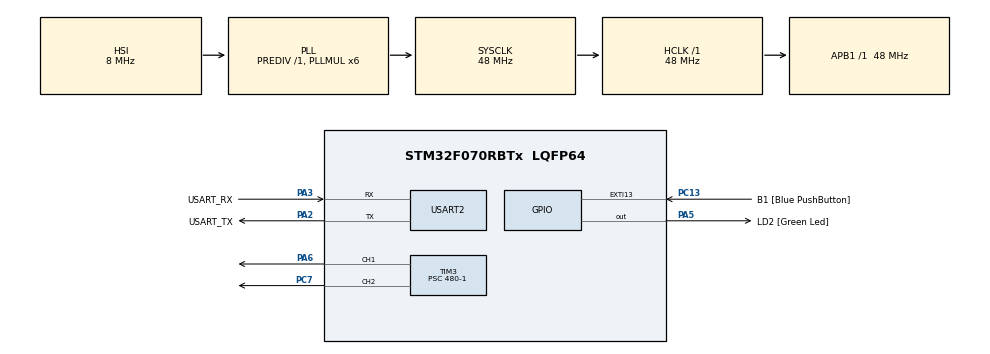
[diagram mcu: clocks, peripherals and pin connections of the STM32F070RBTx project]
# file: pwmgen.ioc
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Mcu.Family=STM32F0
Mcu.Name=STM32F070RBTx
Mcu.Package=LQFP64
NVIC.USART2_IRQn=true\:0\:0\:false\:false\:true\:true
PA13.GPIO_Label=TMS
PA13.Mode=Serial_Wire
PA13.Signal=SYS_SWDIO
PA14.GPIO_Label=TCK
PA14.Mode=Serial_Wire
PA14.Signal=SYS_SWCLK
PA2.GPIO_Label=USART_TX
PA2.Mode=Asynchronous
PA2.Signal=USART2_TX
PA3.GPIO_Label=USART_RX
PA3.Mode=Asynchronous
PA3.Signal=USART2_RX
PA5.GPIO_Label=LD2 [Green Led]
PA5.Signal=GPIO_Output
PA6.Signal=S_TIM3_CH1
PC13.GPIO_Label=B1 [Blue PushButton]
PC13.GPIO_ModeDefaultEXTI=GPIO_MODE_IT_FALLING
PC13.Signal=GPXTI13
PC14-OSC32_IN.GPIO_Label=RCC_OSC32_IN
PC14-OSC32_IN.Mode=LSE-External-Oscillator
PC14-OSC32_IN.Signal=RCC_OSC32_IN
PC15-OSC32_OUT.GPIO_Label=RCC_OSC32_OUT
PC15-OSC32_OUT.Mode=LSE-External-Oscillator
PC15-OSC32_OUT.Signal=RCC_OSC32_OUT
PC7.Signal=S_TIM3_CH2
PF0-OSC_IN.GPIO_Label=RCC_OSC_IN
PF0-OSC_IN.Mode=HSE-External-Clock-Source
PF0-OSC_IN.Signal=RCC_OSC_IN
PF1-OSC_OUT.GPIO_Label=RCC_OSC_OUT
PF1-OSC_OUT.Signal=RCC_OSC_OUT
ProjectManager.HeapSize=0x200
ProjectManager.StackSize=0x400
ProjectManager.TargetToolchain=TrueSTUDIO
RCC.AHBFreq_Value=48000000
RCC.APB1Freq_Value=48000000
RCC.APB1TimFreq_Value=48000000
RCC.HCLKFreq_Value=48000000
RCC.PLLMUL=RCC_PLL_MUL6
RCC.SYSCLKFreq_VALUE=48000000
RCC.SYSCLKSource=RCC_SYSCLKSOURCE_PLLCLK
SH.S_TIM3_CH1.0=TIM3_CH1,PWM Generation1 CH1
SH.S_TIM3_CH2.0=TIM3_CH2,PWM Generation2 CH2
TIM3.AutoReloadPreload=TIM_AUTORELOAD_PRELOAD_ENABLE
TIM3.Channel-PWM\ Generation1\ CH1=TIM_CHANNEL_1
TIM3.Channel-PWM\ Generation2\ CH2=TIM_CHANNEL_2
TIM3.Period=1000-1
TIM3.Prescaler=480-1
TIM3.Pulse-PWM\ Generation1\ CH1=200-1
TIM3.Pulse-PWM\ Generation2\ CH2=200-1
USART2.VirtualMode-Asynchronous=VM_ASYNC
board=NUCLEO-F070RB

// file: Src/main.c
/**
  ******************************************************************************
  * @file           : main.c
  * @brief          : Main program body
  ******************************************************************************
  ** This notice applies to any and all portions of this file
  * that are not between comment pairs USER CODE BEGIN and
  * USER CODE END. Other portions of this file, whether
  * inserted by the user or by software development tools
  * are owned by their respective copyright owners.
  *
  * COPYRIGHT(c) 2018 STMicroelectronics
  *
  * Redistribution and use in source and binary forms, with or without modification,
  * are permitted provided that the following conditions are met:
  *   1. Redistributions of source code must retain the above copyright notice,
  *      this list of conditions and the following disclaimer.
  *   2. Redistributions in binary form must reproduce the above copyright notice,
  *      this list of conditions and the following disclaimer in the documentation
  *      and/or other materials provided with the distribution.
  *   3. Neither the name of STMicroelectronics nor the names of its contributors
  *      may be used to endorse or promote products derived from this software
  *      without specific prior written permission.
  *
  * THIS SOFTWARE IS PROVIDED BY THE COPYRIGHT HOLDERS AND CONTRIBUTORS "AS IS"
  * AND ANY EXPRESS OR IMPLIED WARRANTIES, INCLUDING, BUT NOT LIMITED TO, THE
  * IMPLIED WARRANTIES OF MERCHANTABILITY AND FITNESS FOR A PARTICULAR PURPOSE ARE
  * DISCLAIMED. IN NO EVENT SHALL THE COPYRIGHT HOLDER OR CONTRIBUTORS BE LIABLE
  * FOR ANY DIRECT, INDIRECT, INCIDENTAL, SPECIAL, EXEMPLARY, OR CONSEQUENTIAL
  * DAMAGES (INCLUDING, BUT NOT LIMITED TO, PROCUREMENT OF SUBSTITUTE GOODS OR
  * SERVICES; LOSS OF USE, DATA, OR PROFITS; OR BUSINESS INTERRUPTION) HOWEVER
  * CAUSED AND ON ANY THEORY OF LIABILITY, WHETHER IN CONTRACT, STRICT LIABILITY,
  * OR TORT (INCLUDING NEGLIGENCE OR OTHERWISE) ARISING IN ANY WAY OUT OF THE USE
  * OF THIS SOFTWARE, EVEN IF ADVISED OF THE POSSIBILITY OF SUCH DAMAGE.
  *
  ******************************************************************************
  */
#include "main.h"
#include "stm32f0xx_hal.h"

/* USER CODE BEGIN Includes */
#include <string.h> //For use of strlen and other string related functions
#include <stdio.h>
/* USER CODE END Includes */

TIM_HandleTypeDef htim3;
UART_HandleTypeDef huart2;

/* USER CODE BEGIN PV */
/* Private variables ---------------------------------------------------------*/
#define BOAT_RUDDER_PWMCHANNEL TIM_CHANNEL_2
#define BOAT_THROTTLE_PWMCHANNEL TIM_CHANNEL_1
/* USER CODE END PV */

void SystemClock_Config(void);
static void MX_GPIO_Init(void);
static void MX_USART2_UART_Init(void);
static void MX_TIM3_Init(void);
void HAL_TIM_MspPostInit(TIM_HandleTypeDef *htim);

/* USER CODE BEGIN PFP */
/* Private function prototypes -----------------------------------------------*/
void user_pwm_setvalue(uint16_t value, uint32_t channel);
/* USER CODE END PFP */

/* USER CODE BEGIN 0 */
char receiveBuffer[2];
char welcomeMsg[] = "RoBoat/Debug/Steering \r\n";
/* USER CODE END 0 */

int main(void)
{

  /* MCU Configuration----------------------------------------------------------*/

  /* Reset of all peripherals, Initializes the Flash interface and the Systick. */
  HAL_Init();

  /* Configure the system clock */
  SystemClock_Config();

  /* Initialize all configured peripherals */
  MX_GPIO_Init();
  MX_USART2_UART_Init();
  MX_TIM3_Init();
  /* USER CODE BEGIN 2 */
  HAL_TIM_PWM_Start(&htim3,BOAT_RUDDER_PWMCHANNEL); //Enable PWM for steering
  HAL_TIM_PWM_Start(&htim3, BOAT_THROTTLE_PWMCHANNEL); //Enable PWM for throttle
  HAL_UART_Transmit_IT(&huart2, (uint8_t *)welcomeMsg, sizeof(welcomeMsg));
  user_pwm_setvalue(157, BOAT_RUDDER_PWMCHANNEL); //Default steering
  user_pwm_setvalue(151, BOAT_THROTTLE_PWMCHANNEL); //Default throttle
  HAL_UART_Receive_IT(&huart2, (uint8_t *)receiveBuffer, 2); //Enable the UART receive interrupt
  /* USER CODE END 2 */

  /* Infinite loop */
  /* USER CODE BEGIN WHILE */
  while (1)
  {
	  /*
	   * Superloop: Just blink the onboard LED on and off to show that the main program is running this loop
	   * The UART interrupts should break this loop and once serviced should jump back
	   * The PWM peripherals should not need servicing from inside this loop
	   */
	  HAL_GPIO_TogglePin(GPIOA, GPIO_PIN_5); //Toggle the LED
	  HAL_Delay((uint16_t)500); //Delay 500 ms
  /* USER CODE END WHILE */

  }
}

void SystemClock_Config(void)
{

  RCC_OscInitTypeDef RCC_OscInitStruct;
  RCC_ClkInitTypeDef RCC_ClkInitStruct;

    /**Initializes the CPU, AHB and APB busses clocks
    */
  RCC_OscInitStruct.OscillatorType = RCC_OSCILLATORTYPE_HSI;
  RCC_OscInitStruct.HSIState = RCC_HSI_ON;
  RCC_OscInitStruct.HSICalibrationValue = 16;
  RCC_OscInitStruct.PLL.PLLState = RCC_PLL_ON;
  RCC_OscInitStruct.PLL.PLLSource = RCC_PLLSOURCE_HSI;
  RCC_OscInitStruct.PLL.PLLMUL = RCC_PLL_MUL6;
  RCC_OscInitStruct.PLL.PREDIV = RCC_PREDIV_DIV1;
  if (HAL_RCC_OscConfig(&RCC_OscInitStruct) != HAL_OK)
  {
    _Error_Handler(__FILE__, __LINE__);
  }

    /**Initializes the CPU, AHB and APB busses clocks
    */
  RCC_ClkInitStruct.ClockType = RCC_CLOCKTYPE_HCLK|RCC_CLOCKTYPE_SYSCLK
                              |RCC_CLOCKTYPE_PCLK1;
  RCC_ClkInitStruct.SYSCLKSource = RCC_SYSCLKSOURCE_PLLCLK;
  RCC_ClkInitStruct.AHBCLKDivider = RCC_SYSCLK_DIV1;
  RCC_ClkInitStruct.APB1CLKDivider = RCC_HCLK_DIV1;

  if (HAL_RCC_ClockConfig(&RCC_ClkInitStruct, FLASH_LATENCY_1) != HAL_OK)
  {
    _Error_Handler(__FILE__, __LINE__);
  }

    /**Configure the Systick interrupt time
    */
  HAL_SYSTICK_Config(HAL_RCC_GetHCLKFreq()/1000);

    /**Configure the Systick
    */
  HAL_SYSTICK_CLKSourceConfig(SYSTICK_CLKSOURCE_HCLK);

  /* SysTick_IRQn interrupt configuration */
  HAL_NVIC_SetPriority(SysTick_IRQn, 0, 0);
}

/* TIM3 init function */
static void MX_TIM3_Init(void)
{

  TIM_MasterConfigTypeDef sMasterConfig;
  TIM_OC_InitTypeDef sConfigOC;

  htim3.Instance = TIM3;
  htim3.Init.Prescaler = 480-1;
  htim3.Init.CounterMode = TIM_COUNTERMODE_UP;
  htim3.Init.Period = 1000-1;
  htim3.Init.ClockDivision = TIM_CLOCKDIVISION_DIV1;
  htim3.Init.AutoReloadPreload = TIM_AUTORELOAD_PRELOAD_ENABLE;
  if (HAL_TIM_PWM_Init(&htim3) != HAL_OK)
  {
    _Error_Handler(__FILE__, __LINE__);
  }

  sMasterConfig.MasterOutputTrigger = TIM_TRGO_RESET;
  sMasterConfig.MasterSlaveMode = TIM_MASTERSLAVEMODE_DISABLE;
  if (HAL_TIMEx_MasterConfigSynchronization(&htim3, &sMasterConfig) != HAL_OK)
  {
    _Error_Handler(__FILE__, __LINE__);
  }

  sConfigOC.OCMode = TIM_OCMODE_PWM1;
  sConfigOC.Pulse = 200-1;
  sConfigOC.OCPolarity = TIM_OCPOLARITY_HIGH;
  sConfigOC.OCFastMode = TIM_OCFAST_DISABLE;
  if (HAL_TIM_PWM_ConfigChannel(&htim3, &sConfigOC, TIM_CHANNEL_1) != HAL_OK)
  {
    _Error_Handler(__FILE__, __LINE__);
  }

  if (HAL_TIM_PWM_ConfigChannel(&htim3, &sConfigOC, TIM_CHANNEL_2) != HAL_OK)
  {
    _Error_Handler(__FILE__, __LINE__);
  }

  HAL_TIM_MspPostInit(&htim3);

}

/* USART2 init function */
static void MX_USART2_UART_Init(void)
{

  huart2.Instance = USART2;
  huart2.Init.BaudRate = 38400;
  huart2.Init.WordLength = UART_WORDLENGTH_8B;
  huart2.Init.StopBits = UART_STOPBITS_1;
  huart2.Init.Parity = UART_PARITY_NONE;
  huart2.Init.Mode = UART_MODE_TX_RX;
  huart2.Init.HwFlowCtl = UART_HWCONTROL_NONE;
  huart2.Init.OverSampling = UART_OVERSAMPLING_16;
  huart2.Init.OneBitSampling = UART_ONE_BIT_SAMPLE_DISABLE;
  huart2.AdvancedInit.AdvFeatureInit = UART_ADVFEATURE_NO_INIT;
  if (HAL_UART_Init(&huart2) != HAL_OK)
  {
    _Error_Handler(__FILE__, __LINE__);
  }

}

/** Configure pins as
        * Analog
        * Input
        * Output
        * EVENT_OUT
        * EXTI
*/
static void MX_GPIO_Init(void)
{

  GPIO_InitTypeDef GPIO_InitStruct;

  /* GPIO Ports Clock Enable */
  __HAL_RCC_GPIOC_CLK_ENABLE();
  __HAL_RCC_GPIOF_CLK_ENABLE();
  __HAL_RCC_GPIOA_CLK_ENABLE();

  /*Configure GPIO pin Output Level */
  HAL_GPIO_WritePin(LD2_GPIO_Port, LD2_Pin, GPIO_PIN_RESET);

  /*Configure GPIO pin : B1_Pin */
  GPIO_InitStruct.Pin = B1_Pin;
  GPIO_InitStruct.Mode = GPIO_MODE_IT_FALLING;
  GPIO_InitStruct.Pull = GPIO_NOPULL;
  HAL_GPIO_Init(B1_GPIO_Port, &GPIO_InitStruct);

  /*Configure GPIO pin : LD2_Pin */
  GPIO_InitStruct.Pin = LD2_Pin;
  GPIO_InitStruct.Mode = GPIO_MODE_OUTPUT_PP;
  GPIO_InitStruct.Pull = GPIO_NOPULL;
  GPIO_InitStruct.Speed = GPIO_SPEED_FREQ_LOW;
  HAL_GPIO_Init(LD2_GPIO_Port, &GPIO_InitStruct);

}

/* USER CODE BEGIN 4 */
/* Function to modulate the pulse width of a PWM channel with a fixed frequency
 * Takes parameter value which currently is the number of counts of the 100 kHz timer during which the pulse will be high
 * Calculate the duty cycle by d = value/1000
 * Takes parameter channel which is the PWM channel to modulate
 * */
void user_pwm_setvalue(uint16_t value, uint32_t channel)
{
	HAL_TIM_PWM_Stop(&htim3, channel);
	TIM_OC_InitTypeDef sConfigOC;
	sConfigOC.OCMode = TIM_OCMODE_PWM1;
	sConfigOC.Pulse = value;
	sConfigOC.OCPolarity = TIM_OCPOLARITY_HIGH;
	sConfigOC.OCFastMode = TIM_OCFAST_DISABLE;
	HAL_TIM_PWM_ConfigChannel(&htim3, &sConfigOC, channel);
	HAL_TIM_PWM_Start(&htim3, channel);
}

/*
 * UART Receive Complete Callback function
 * Invoked when HAL_UART_Receive_IT fills the buffer it is given
 * Currently takes a single byte command and one other character (suggest enter key) and sets throttle/steering control pwm
 * Commands not case sensitive
 * ==========================================
 * Command		Action
 * ------------------------------------------
 * R			Steer Rudder Full Right
 * L			Steer Rudder Full Left
 * C or S		Return Rudder to Center
 * F			Forward Throttle (low power)
 * V or B		Reverse Throttle (low power)
 * X			Kill Throttle
 * ==========================================
 *
 * Resets the UART RX Interrupt once complete so we can receive more data and interrupt the superloop when this happens
 * Buggy to call HAL_UART_Transmit_IT in this callback, use HAL_UART_Transmit (blocking mode transmission) instead
 */
void HAL_UART_RxCpltCallback(UART_HandleTypeDef *huart)
{
	//Set default values to send via PWM
	uint16_t degree = 157;
	uint32_t ch = BOAT_RUDDER_PWMCHANNEL;
	//Get the first character from the buffer as the command
	char cmd = receiveBuffer[0];
	//TODO Rewrite this as a switch statement
	if(cmd == 'r' || cmd == 'R')
	{
		degree = 101;
		ch = BOAT_RUDDER_PWMCHANNEL;
		char rMsg[] = "Steering Right\r\n";
		HAL_UART_Transmit(&huart2, (uint8_t *)rMsg, sizeof(rMsg), 0xFFFF);
	}
	else if(cmd == 'l' || cmd == 'L')
	{
		ch = BOAT_RUDDER_PWMCHANNEL;
		degree = 200;
		char lMsg[] = "Steering Left\r\n";
		HAL_UART_Transmit(&huart2, (uint8_t *)lMsg, sizeof(lMsg), 0xFFFF);
	}
	else if(cmd == 'c' || cmd == 'C' || cmd == 's' || cmd == 'S')
	{
		ch = BOAT_RUDDER_PWMCHANNEL;
		degree = 157;
		char cMsg[] = "Steering Straight\r\n";
		HAL_UART_Transmit(&huart2, (uint8_t *)cMsg, sizeof(cMsg), 0xFFFF);
	}
	else if(cmd == 'f' || cmd == 'F')
	{
		ch = BOAT_THROTTLE_PWMCHANNEL; //Select throttle timer output channel
		degree = 160;
		char fMsg[] = "Throttle forward 16.0%\r\n";
		HAL_UART_Transmit(&huart2, (uint8_t *)fMsg, sizeof(fMsg), 0xFFFF);
	}
	else if(cmd == 'x' || cmd == 'X')
	{
		ch = BOAT_THROTTLE_PWMCHANNEL;
		degree = 150;
		char xMsg[] = "Throttle off 15.0%\r\n";
		HAL_UART_Transmit(&huart2, (uint8_t *)xMsg, sizeof(xMsg), 0xFFFF);
	}
	else if(cmd == 'v' || cmd == 'V' || cmd == 'b' || cmd == 'B')
	{
		ch = BOAT_THROTTLE_PWMCHANNEL;
		degree = 135;
		char vMsg[] = "Throttle reverse 13.5%\r\n";
		HAL_UART_Transmit(&huart2, (uint8_t *)vMsg, sizeof(vMsg), 0xFFFF);
	}
	user_pwm_setvalue(degree, ch); //Modify the output PWM as commanded
	HAL_UART_Receive_IT(&huart2, (uint8_t *)receiveBuffer, 2); //Reset the receive interrupt to regenerate this callback function when more data received
}
/* USER CODE END 4 */

void _Error_Handler(char *file, int line)
{
  while(1)
  {
  }
}

/************************ (C) COPYRIGHT STMicroelectronics *****END OF FILE****/
